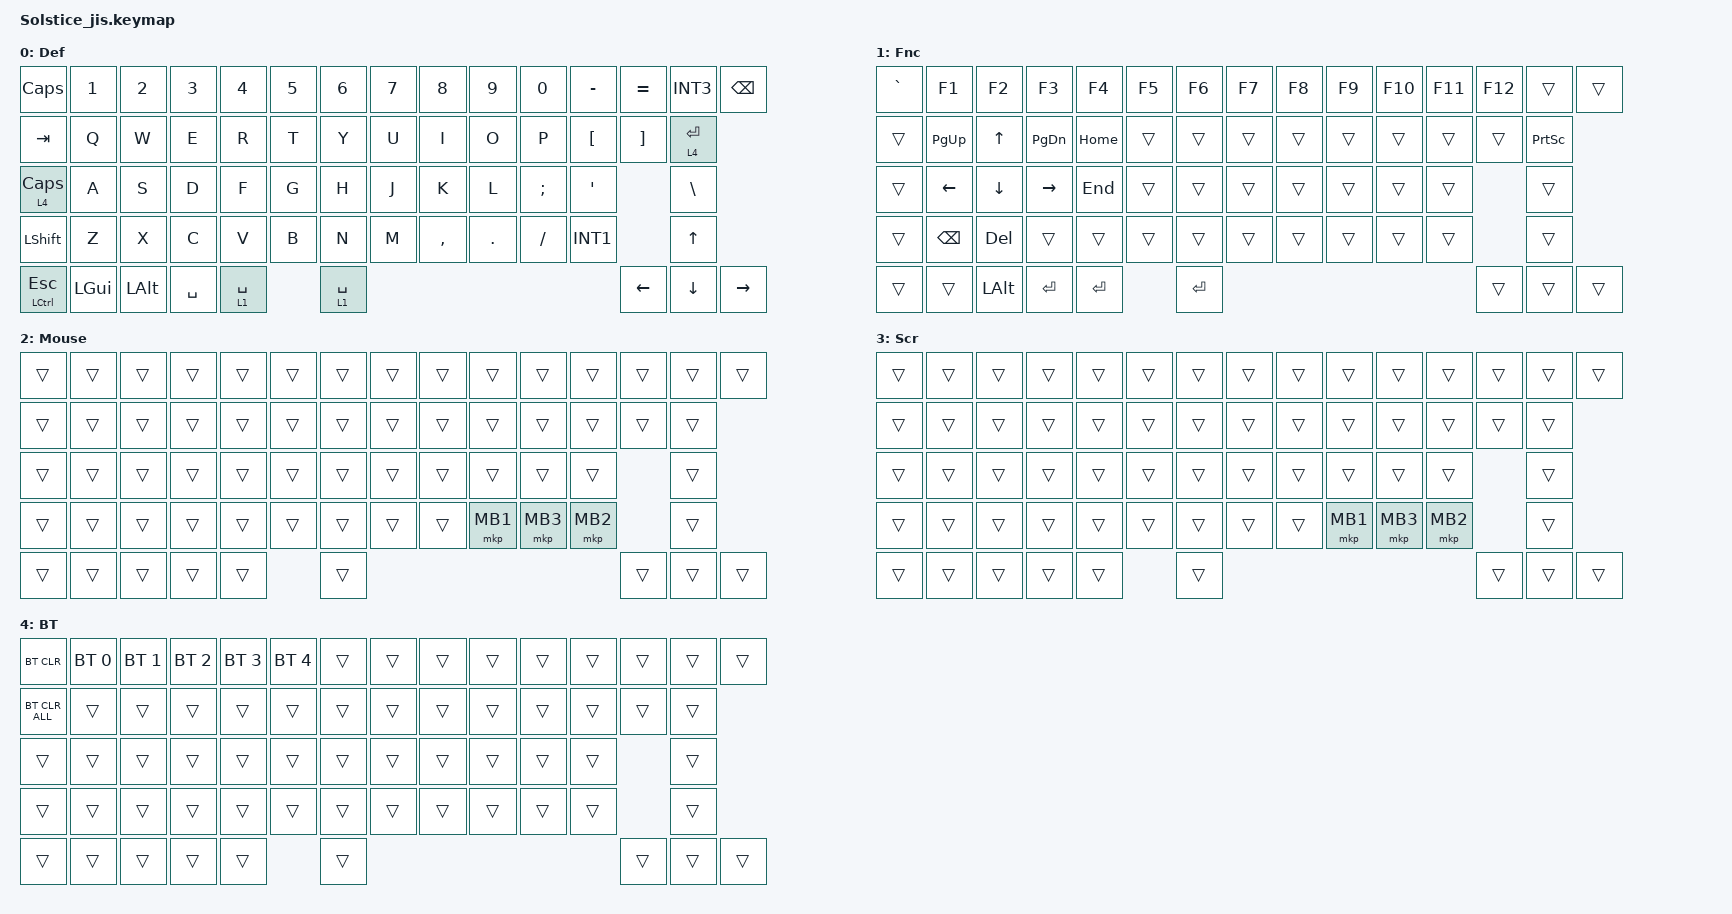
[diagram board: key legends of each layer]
#include <layout_shift_kp_override.dtsi>
#include <behaviors.dtsi>
#include <dt-bindings/zmk/keys.h>
#include <dt-bindings/zmk/pointing.h>
#include <dt-bindings/zmk/bt.h>

#define MOUSE 2
#define SCROLL 3
#define BT 4

&mt {
	flavor = "tap-preferred";
};

/ {
	keymap {
		compatible = "zmk,keymap";
		default_layer {
			label="Def";
			bindings = <
			&kp CAPS       &kp N1    &kp N2     &kp N3     &kp N4     &kp N5       &kp N6    &kp N7     &kp N8     &kp N9     &kp N0    &kp MINUS  &kp EQUAL      &kp INT3  &kp BKSP
			&kp TAB        &kp Q     &kp W      &kp E      &kp R      &kp T        &kp Y     &kp U      &kp I      &kp O      &kp P     &kp LBKT   &kp RBKT       &lt 4 ENTER
			&lt 4 CAPS     &kp A     &kp S      &kp D      &kp F      &kp G        &kp H     &kp J      &kp K      &kp L      &kp SEMI  &kp SQT                   &kp BSLH
			&kp LSHFT      &kp Z     &kp X      &kp C      &kp V      &kp B        &kp N     &kp M      &kp COMMA  &kp DOT    &kp FSLH  &kp INT1                  &kp UP
			&mt LCTL ESC   &kp LGUI  &kp LALT   &kp SPACE  &lt 1 SPACE             &lt 1 SPACE                                                           &kp LEFT &kp DOWN &kp RIGHT
			>;
		};
		
		function_layer {
			label="Fnc";
			bindings = <
			&kp GRAVE     &kp F1     &kp F2     &kp F3     &kp F4     &kp F5       &kp F6    &kp F7     &kp F8     &kp F9     &kp F10   &kp F11    &kp F12         &trans   &trans
			&trans        &kp PG_UP  &kp UP     &kp PG_DN  &kp HOME   &trans       &trans    &trans     &trans     &trans     &trans    &trans     &trans          &kp PSCRN
			&trans        &kp LEFT   &kp DOWN   &kp RIGHT  &kp END    &trans       &trans    &trans     &trans     &trans     &trans    &trans                     &trans
			&trans        &kp BKSP   &kp DEL    &trans     &trans     &trans       &trans    &trans     &trans     &trans     &trans    &trans                     &trans
			&trans        &trans     &kp LALT   &kp ENTER  &kp ENTER               &kp ENTER                                                              &trans   &trans   &trans
			>;
		};
		
		mouse_layer {
			label="Mouse";
			bindings = <
			&trans        &trans     &trans     &trans     &trans     &trans       &trans    &trans     &trans     &trans     &trans    &trans     &trans          &trans   &trans
			&trans        &trans     &trans     &trans     &trans     &trans       &trans    &trans     &trans     &trans     &trans    &trans     &trans          &trans
			&trans        &trans     &trans     &trans     &trans     &trans       &trans    &trans     &trans     &trans     &trans    &trans                     &trans
			&trans        &trans     &trans     &trans     &trans     &trans       &trans    &trans     &trans     &mkp MB1   &mkp MB3  &mkp MB2                   &trans
			&trans        &trans     &trans                &trans     &trans       &trans                                                                 &trans   &trans   &trans
			>;
		};
		
		scroll_layer {
			label="Scr";
			bindings = <
			&trans        &trans     &trans     &trans     &trans     &trans       &trans    &trans     &trans     &trans     &trans    &trans     &trans          &trans   &trans
			&trans        &trans     &trans     &trans     &trans     &trans       &trans    &trans     &trans     &trans     &trans    &trans     &trans          &trans
			&trans        &trans     &trans     &trans     &trans     &trans       &trans    &trans     &trans     &trans     &trans    &trans                     &trans
			&trans        &trans     &trans     &trans     &trans     &trans       &trans    &trans     &trans     &mkp MB1   &mkp MB3  &mkp MB2                   &trans
			&trans        &trans     &trans                &trans     &trans       &trans                                                                 &trans   &trans   &trans
			>;
		};
		
		bt_layer {
			label="BT";
			bindings = <
			&bt BT_CLR     &bt BT_SEL 0 &bt BT_SEL 1 &bt BT_SEL 2 &bt BT_SEL 3 &bt BT_SEL 4  &trans   &trans   &trans   &trans   &trans  &trans    &trans          &trans   &trans
			&bt BT_CLR_ALL &trans       &trans       &trans       &trans       &trans        &trans   &trans   &trans   &trans   &trans  &trans    &trans          &trans
			&trans         &trans       &trans       &trans       &trans       &trans        &trans   &trans   &trans   &trans   &trans  &trans                    &trans
			&trans         &trans       &trans       &trans       &trans       &trans        &trans   &trans   &trans   &trans   &trans  &trans                    &trans
			&trans         &trans       &trans       &trans       &trans                     &trans                                                       &trans   &trans   &trans
			>;
		};
	};
};
